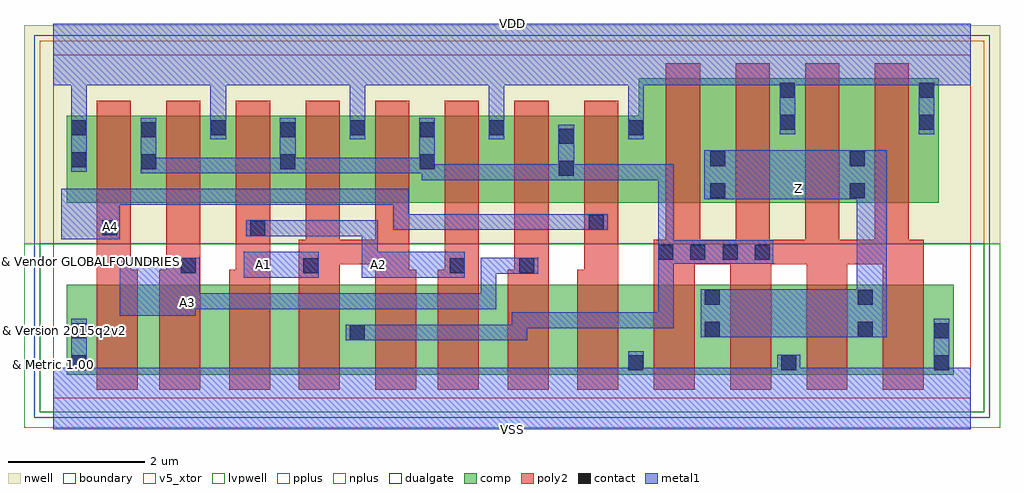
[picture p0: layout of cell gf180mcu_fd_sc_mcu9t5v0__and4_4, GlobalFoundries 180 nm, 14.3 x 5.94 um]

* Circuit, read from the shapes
.subckt gf180mcu_fd_sc_mcu9t5v0__and4_4 A1 A2 A3 A4 VDD VSS Z
XM1 n1 A4 VSS VSUBS nfet_05v0 w=1.32u l=0.6u
XM2 n2 A3 n1 VSUBS nfet_05v0 w=1.32u l=0.6u
XM3 n3 A2 n2 VSUBS nfet_05v0 w=1.32u l=0.6u
XM4 n4 A1 n3 VSUBS nfet_05v0 w=1.32u l=0.6u
XM5 n5 A1 n4 VSUBS nfet_05v0 w=1.32u l=0.6u
XM6 n6 A2 n5 VSUBS nfet_05v0 w=1.32u l=0.6u
XM7 n7 A3 n6 VSUBS nfet_05v0 w=1.32u l=0.6u
XM8 VSS A4 n7 VSUBS nfet_05v0 w=1.32u l=0.6u
XM9 Z n4 VSS VSUBS nfet_05v0 w=1.32u l=0.6u m=4
XM10 n4 A4 VDD n8 pfet_05v0 w=1.28u l=0.5u m=2
XM11 VDD A3 n4 n8 pfet_05v0 w=1.28u l=0.5u m=2
XM12 n4 A2 VDD n8 pfet_05v0 w=1.28u l=0.5u m=2
XM13 VDD A1 n4 n8 pfet_05v0 w=1.28u l=0.5u m=2
XM14 Z n4 VDD n8 pfet_05v0 w=1.83u l=0.5u m=4
.ends

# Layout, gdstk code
import gdstk
lib = gdstk.Library(unit=1e-6, precision=1e-09)
def R(c, l, rs):  # rectangles x0, y0, x1, y1
    for r in rs: c.add(gdstk.rectangle(r[:2], r[2:], *l))
def A(c, l, x, y, w, h, nx, ny, dx, dy):  # array of equal rectangles
    R(c, l, [(x+i*dx, y+j*dy, x+i*dx+w, y+j*dy+h) for i in range(nx) for j in range(ny)])
def P(c, l, *ps):  # polygons
    for p in ps: c.add(gdstk.Polygon(p, *l))
boundary = (0, 0)
nwell = (21, 0)
comp = (22, 0)
poly2 = (30, 0)
pplus = (31, 0)
nplus = (32, 0)
contact = (33, 0)
metal1 = (34, 0)
dualgate = (55, 0)
v5_xtor = (112, 1)
lvpwell = (204, 0)

gf180mcu_fd_sc_mcu9t5v0_ = lib.new_cell('gf180mcu_fd_sc_mcu9t5v0__and4_4')
R(gf180mcu_fd_sc_mcu9t5v0_, boundary, [(0,0,13.44,5.04)])
R(gf180mcu_fd_sc_mcu9t5v0_, nwell, [(-0.43,2.265,13.87,5.47)])
R(gf180mcu_fd_sc_mcu9t5v0_, comp, [(0.195,0.345,13.195,1.665)])
P(gf180mcu_fd_sc_mcu9t5v0_, comp, [(0.195,2.865),(0.195,4.145),(8.575,4.145),(8.575,4.695),(12.975,4.695),(12.975,2.865)])
P(gf180mcu_fd_sc_mcu9t5v0_, poly2, [(0.635,0.125),(0.635,4.365),(1.135,4.365),(1.135,1.885),(1.235,1.885),(1.235,0.125)],
  [(1.555,0.125),(1.555,1.885),(1.655,1.885),(1.655,4.365),(2.155,4.365),(2.155,0.125)],
  [(2.575,0.125),(2.575,1.885),(2.675,1.885),(2.675,4.365),(3.175,4.365),(3.175,0.125)],
  [(3.595,0.125),(3.595,2.325),(3.695,2.325),(3.695,4.365),(4.195,4.365),(4.195,2.325),(4.715,2.325),(4.715,4.365),(5.215,4.365),(5.215,1.885),(5.315,1.885),(5.315,0.125),(4.715,0.125),(4.715,1.965),(4.195,1.965),(4.195,0.125)],
  [(5.635,0.125),(5.635,1.885),(5.735,1.885),(5.735,4.365),(6.235,4.365),(6.235,0.125)],
  [(6.655,0.125),(6.655,1.885),(6.755,1.885),(6.755,4.365),(7.255,4.365),(7.255,0.125)],
  [(7.675,0.125),(7.675,1.885),(7.775,1.885),(7.775,4.365),(8.275,4.365),(8.275,0.125)],
  [(8.795,0.125),(8.795,2.325),(8.975,2.325),(8.975,4.915),(9.475,4.915),(9.475,2.325),(9.995,2.325),(9.995,4.915),(10.495,4.915),(10.495,2.325),(11.015,2.325),(11.015,4.915),(11.515,4.915),(11.515,2.325),(12.035,2.325),(12.035,4.915),(12.535,4.915),(12.535,2.325),(12.755,2.325),(12.755,0.125),(12.155,0.125),(12.155,1.965),(11.635,1.965),(11.635,0.125),(11.035,0.125),(11.035,1.965),(10.515,1.965),(10.515,0.125),(9.915,0.125),(9.915,1.965),(9.395,1.965),(9.395,0.125)])
R(gf180mcu_fd_sc_mcu9t5v0_, pplus, [(-0.2,2.265,13.64,5.24)])
R(gf180mcu_fd_sc_mcu9t5v0_, nplus, [(-0.2,-0.2,13.64,2.265)])
A(gf180mcu_fd_sc_mcu9t5v0_, contact, 8.425, 0.415, 0.22, 0.22, 3, 1, 2.24, 0)
A(gf180mcu_fd_sc_mcu9t5v0_, contact, 8.865, 2.035, 0.22, 0.22, 4, 1, 0.47, 0)
A(gf180mcu_fd_sc_mcu9t5v0_, contact, 1.285, 3.36, 0.22, 0.22, 3, 2, 2.04, 0.47)
A(gf180mcu_fd_sc_mcu9t5v0_, contact, 0.265, 3.855, 0.22, 0.22, 5, 1, 2.04, 0)
R(gf180mcu_fd_sc_mcu9t5v0_, contact, [(0.265,0.415,0.485,0.635), (4.345,0.855,4.565,1.075), (0.265,0.885,0.485,1.105), (12.905,0.885,13.125,1.105), (9.545,0.905,9.765,1.125), (11.785,0.905,12.005,1.125), (9.545,1.375,9.765,1.595), (11.785,1.375,12.005,1.595), (1.865,1.835,2.085,2.055), (3.665,1.835,3.885,2.055), (5.805,1.835,6.025,2.055), (6.825,1.835,7.045,2.055), (2.885,2.385,3.105,2.605), (0.715,2.39,0.935,2.61), (7.845,2.475,8.065,2.695), (9.625,2.935,9.845,3.155), (11.665,2.935,11.885,3.155), (7.405,3.26,7.625,3.48), (0.265,3.385,0.485,3.605), (9.625,3.405,9.845,3.625), (11.665,3.405,11.885,3.625), (7.405,3.73,7.625,3.95), (10.645,3.935,10.865,4.155), (12.685,3.935,12.905,4.155), (10.645,4.405,10.865,4.625), (12.685,4.405,12.905,4.625)])
R(gf180mcu_fd_sc_mcu9t5v0_, metal1, [(2.79,1.77,3.89,2.15)])
P(gf180mcu_fd_sc_mcu9t5v0_, metal1, [(4.52,1.77),(4.52,2.38),(2.825,2.38),(2.825,2.61),(4.75,2.61),(4.75,2.15),(6.03,2.15),(6.03,1.77)],
  [(0.975,1.21),(0.975,2.06),(2.145,2.06),(2.145,1.54),(6.26,1.54),(6.26,2.06),(7.105,2.06),(7.105,1.83),(6.49,1.83),(6.49,1.31),(2.09,1.31),(2.09,1.21)],
  [(0.115,2.33),(0.115,3.07),(5.21,3.07),(5.21,2.7),(8.125,2.7),(8.125,2.47),(4.98,2.47),(4.98,2.84),(0.97,2.84),(0.97,2.33)],
  [(4.285,0.85),(4.285,1.08),(6.715,1.08),(6.715,1.26),(8.86,1.26),(8.86,3.2),(5.4,3.2),(5.4,3.3),(1.28,3.3),(1.28,4.11),(1.51,4.11),(1.51,3.53),(3.32,3.53),(3.32,4.11),(3.55,4.11),(3.55,3.53),(5.36,3.53),(5.36,4.11),(5.59,4.11),(5.59,3.43),(7.4,3.43),(7.4,4.01),(7.63,4.01),(7.63,3.43),(9.09,3.43),(9.09,2.315),(10.55,2.315),(10.55,1.975),(9.09,1.975),(9.09,1.03),(6.94,1.03),(6.94,0.85)],
  [(9.485,0.9),(9.485,1.6),(11.77,1.6),(11.77,2.92),(9.54,2.92),(9.54,3.64),(12.21,3.64),(12.21,0.9)],
  [(0,-0.45),(0,0.45),(0.26,0.45),(0.26,1.165),(0.49,1.165),(0.49,0.45),(8.42,0.45),(8.42,0.695),(8.65,0.695),(8.65,0.45),(10.605,0.45),(10.605,0.64),(10.945,0.64),(10.945,0.45),(12.9,0.45),(12.9,1.165),(13.13,1.165),(13.13,0.45),(13.44,0.45),(13.44,-0.45)],
  [(0.26,3.325),(0.26,4.59),(0,4.59),(0,5.49),(13.44,5.49),(13.44,4.59),(12.91,4.59),(12.91,3.875),(12.68,3.875),(12.68,4.59),(10.87,4.59),(10.87,3.875),(10.64,3.875),(10.64,4.59),(8.65,4.59),(8.65,3.795),(8.42,3.795),(8.42,4.59),(6.61,4.59),(6.61,3.795),(6.38,3.795),(6.38,4.59),(4.57,4.59),(4.57,3.795),(4.34,3.795),(4.34,4.59),(2.53,4.59),(2.53,3.795),(2.3,3.795),(2.3,4.59),(0.49,4.59),(0.49,3.325)])
R(gf180mcu_fd_sc_mcu9t5v0_, dualgate, [(-0.28,-0.28,13.72,5.32)])
R(gf180mcu_fd_sc_mcu9t5v0_, v5_xtor, [(0,0,13.44,5.04)])
R(gf180mcu_fd_sc_mcu9t5v0_, lvpwell, [(-0.43,-0.43,13.87,2.265)])
gf180mcu_fd_sc_mcu9t5v0_.add(gdstk.Label('A1', (3.08,1.96), layer=34, texttype=10))
gf180mcu_fd_sc_mcu9t5v0_.add(gdstk.Label('A2', (4.76,1.96), layer=34, texttype=10))
gf180mcu_fd_sc_mcu9t5v0_.add(gdstk.Label('A3', (1.96,1.4), layer=34, texttype=10))
gf180mcu_fd_sc_mcu9t5v0_.add(gdstk.Label('A4', (0.84,2.52), layer=34, texttype=10))
gf180mcu_fd_sc_mcu9t5v0_.add(gdstk.Label('VDD', (6.72,5.49), layer=34, texttype=10))
gf180mcu_fd_sc_mcu9t5v0_.add(gdstk.Label('VSS', (6.72,-0.45), layer=34, texttype=10))
gf180mcu_fd_sc_mcu9t5v0_.add(gdstk.Label('Z', (10.92,3.08), layer=34, texttype=10))
gf180mcu_fd_sc_mcu9t5v0_.add(gdstk.Label('& Vendor GLOBALFOUNDRIES', (0,2), layer=63, texttype=63))
gf180mcu_fd_sc_mcu9t5v0_.add(gdstk.Label('& Product GF018hv5v_green_sc9', (0,1.5), layer=63, texttype=63))
gf180mcu_fd_sc_mcu9t5v0_.add(gdstk.Label('& Version 2015q2v2', (0,1), layer=63, texttype=63))
gf180mcu_fd_sc_mcu9t5v0_.add(gdstk.Label('& Metric 1.00', (0,0.5), layer=63, texttype=63))

lib.write_gds('gf180mcu_fd_sc_mcu9t5v0__and4_4.gds')
